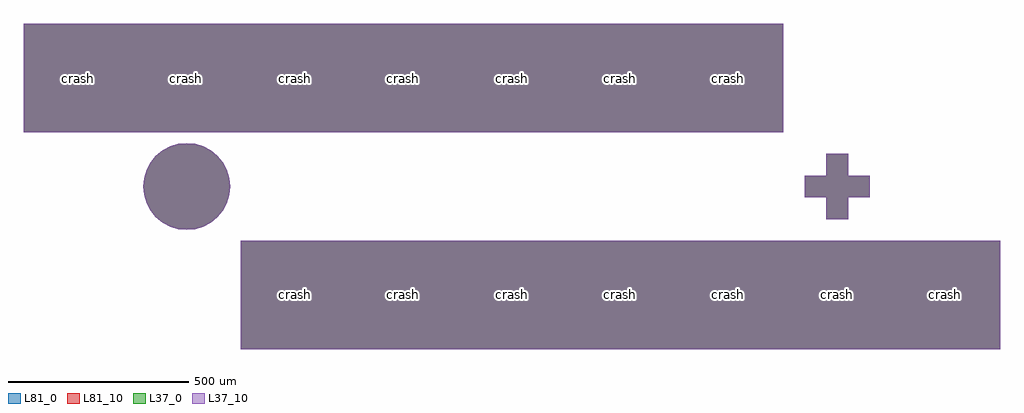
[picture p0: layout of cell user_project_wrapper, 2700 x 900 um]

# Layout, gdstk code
import gdstk
lib = gdstk.Library(unit=1e-6, precision=1e-09)
def R(c, l, rs):  # rectangles x0, y0, x1, y1
    for r in rs: c.add(gdstk.rectangle(r[:2], r[2:], *l))
def A(c, l, x, y, w, h, nx, ny, dx, dy):  # array of equal rectangles
    R(c, l, [(x+i*dx, y+j*dy, x+i*dx+w, y+j*dy+h) for i in range(nx) for j in range(ny)])
def P(c, l, *ps):  # polygons
    for p in ps: c.add(gdstk.Polygon(p, *l))
L37_0 = (37, 0)
L37_10 = (37, 10)
L81_0 = (81, 0)
L81_10 = (81, 10)

user_project_wrapper = lib.new_cell('user_project_wrapper')
A(user_project_wrapper, L37_0, 750, 1000, 300, 300, 7, 1, 300, 0)
A(user_project_wrapper, L37_0, 150, 1600, 300, 300, 7, 1, 300, 0)
R(user_project_wrapper, L37_0, [(2370,1360,2430,1540), (2310,1420,2490,1480)])
P(user_project_wrapper, L37_0, [(600,1330),(576.59,1332.306),(554.078,1339.135),(533.332,1350.224),(515.148,1365.148),(500.224,1383.332),(489.135,1404.078),(482.306,1426.59),(480,1450),(482.306,1473.41),(489.135,1495.922),(500.224,1516.668),(515.148,1534.852),(533.332,1549.776),(554.078,1560.865),(576.59,1567.694),(600,1570),(623.41,1567.694),(645.922,1560.865),(666.668,1549.776),(684.852,1534.852),(699.776,1516.668),(710.865,1495.922),(717.694,1473.41),(720,1450),(717.694,1426.59),(710.865,1404.078),(699.776,1383.332),(684.852,1365.148),(666.668,1350.224),(645.922,1339.135),(623.41,1332.306)])
A(user_project_wrapper, L37_10, 750, 1000, 300, 300, 7, 1, 300, 0)
A(user_project_wrapper, L37_10, 150, 1600, 300, 300, 7, 1, 300, 0)
R(user_project_wrapper, L37_10, [(2370,1360,2430,1540), (2310,1420,2490,1480)])
P(user_project_wrapper, L37_10, [(600,1330),(576.59,1332.306),(554.078,1339.135),(533.332,1350.224),(515.148,1365.148),(500.224,1383.332),(489.135,1404.078),(482.306,1426.59),(480,1450),(482.306,1473.41),(489.135,1495.922),(500.224,1516.668),(515.148,1534.852),(533.332,1549.776),(554.078,1560.865),(576.59,1567.694),(600,1570),(623.41,1567.694),(645.922,1560.865),(666.668,1549.776),(684.852,1534.852),(699.776,1516.668),(710.865,1495.922),(717.694,1473.41),(720,1450),(717.694,1426.59),(710.865,1404.078),(699.776,1383.332),(684.852,1365.148),(666.668,1350.224),(645.922,1339.135),(623.41,1332.306)])
A(user_project_wrapper, L81_0, 750, 1000, 300, 300, 7, 1, 300, 0)
A(user_project_wrapper, L81_0, 150, 1600, 300, 300, 7, 1, 300, 0)
R(user_project_wrapper, L81_0, [(2370,1360,2430,1540), (2310,1420,2490,1480)])
P(user_project_wrapper, L81_0, [(600,1330),(576.59,1332.306),(554.078,1339.135),(533.332,1350.224),(515.148,1365.148),(500.224,1383.332),(489.135,1404.078),(482.306,1426.59),(480,1450),(482.306,1473.41),(489.135,1495.922),(500.224,1516.668),(515.148,1534.852),(533.332,1549.776),(554.078,1560.865),(576.59,1567.694),(600,1570),(623.41,1567.694),(645.922,1560.865),(666.668,1549.776),(684.852,1534.852),(699.776,1516.668),(710.865,1495.922),(717.694,1473.41),(720,1450),(717.694,1426.59),(710.865,1404.078),(699.776,1383.332),(684.852,1365.148),(666.668,1350.224),(645.922,1339.135),(623.41,1332.306)])
A(user_project_wrapper, L81_10, 750, 1000, 300, 300, 7, 1, 300, 0)
A(user_project_wrapper, L81_10, 150, 1600, 300, 300, 7, 1, 300, 0)
R(user_project_wrapper, L81_10, [(2370,1360,2430,1540), (2310,1420,2490,1480)])
P(user_project_wrapper, L81_10, [(600,1330),(576.59,1332.306),(554.078,1339.135),(533.332,1350.224),(515.148,1365.148),(500.224,1383.332),(489.135,1404.078),(482.306,1426.59),(480,1450),(482.306,1473.41),(489.135,1495.922),(500.224,1516.668),(515.148,1534.852),(533.332,1549.776),(554.078,1560.865),(576.59,1567.694),(600,1570),(623.41,1567.694),(645.922,1560.865),(666.668,1549.776),(684.852,1534.852),(699.776,1516.668),(710.865,1495.922),(717.694,1473.41),(720,1450),(717.694,1426.59),(710.865,1404.078),(699.776,1383.332),(684.852,1365.148),(666.668,1350.224),(645.922,1339.135),(623.41,1332.306)])
user_project_wrapper.add(gdstk.Label('crash', (300,1750), layer=81, texttype=10))
user_project_wrapper.add(gdstk.Label('crash', (600,1750), layer=81, texttype=10))
user_project_wrapper.add(gdstk.Label('crash', (900,1750), layer=81, texttype=10))
user_project_wrapper.add(gdstk.Label('crash', (1200,1750), layer=81, texttype=10))
user_project_wrapper.add(gdstk.Label('crash', (1500,1750), layer=81, texttype=10))
user_project_wrapper.add(gdstk.Label('crash', (1800,1750), layer=81, texttype=10))
user_project_wrapper.add(gdstk.Label('crash', (2100,1750), layer=81, texttype=10))
user_project_wrapper.add(gdstk.Label('crash', (900,1150), layer=81, texttype=10))
user_project_wrapper.add(gdstk.Label('crash', (1200,1150), layer=81, texttype=10))
user_project_wrapper.add(gdstk.Label('crash', (1500,1150), layer=81, texttype=10))
user_project_wrapper.add(gdstk.Label('crash', (1800,1150), layer=81, texttype=10))
user_project_wrapper.add(gdstk.Label('crash', (2100,1150), layer=81, texttype=10))
user_project_wrapper.add(gdstk.Label('crash', (2400,1150), layer=81, texttype=10))
user_project_wrapper.add(gdstk.Label('crash', (2700,1150), layer=81, texttype=10))
user_project_wrapper.add(gdstk.Label('crash', (300,1750), layer=37, texttype=10))
user_project_wrapper.add(gdstk.Label('crash', (600,1750), layer=37, texttype=10))
user_project_wrapper.add(gdstk.Label('crash', (900,1750), layer=37, texttype=10))
user_project_wrapper.add(gdstk.Label('crash', (1200,1750), layer=37, texttype=10))
user_project_wrapper.add(gdstk.Label('crash', (1500,1750), layer=37, texttype=10))
user_project_wrapper.add(gdstk.Label('crash', (1800,1750), layer=37, texttype=10))
user_project_wrapper.add(gdstk.Label('crash', (2100,1750), layer=37, texttype=10))
user_project_wrapper.add(gdstk.Label('crash', (900,1150), layer=37, texttype=10))
user_project_wrapper.add(gdstk.Label('crash', (1200,1150), layer=37, texttype=10))
user_project_wrapper.add(gdstk.Label('crash', (1500,1150), layer=37, texttype=10))
user_project_wrapper.add(gdstk.Label('crash', (1800,1150), layer=37, texttype=10))
user_project_wrapper.add(gdstk.Label('crash', (2100,1150), layer=37, texttype=10))
user_project_wrapper.add(gdstk.Label('crash', (2400,1150), layer=37, texttype=10))
user_project_wrapper.add(gdstk.Label('crash', (2700,1150), layer=37, texttype=10))

lib.write_gds('user_project_wrapper.gds')
